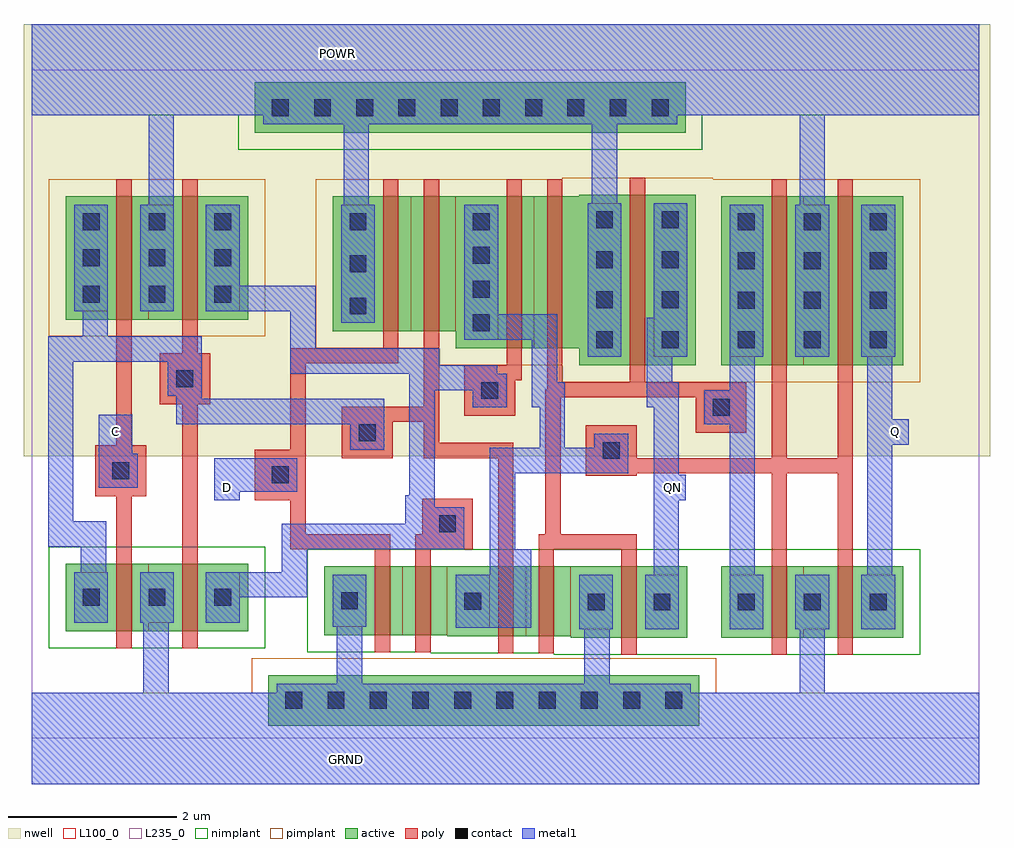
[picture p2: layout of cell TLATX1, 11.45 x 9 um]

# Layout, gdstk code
import gdstk
lib = gdstk.Library(unit=1e-6, precision=1e-09)
def R(c, l, rs):  # rectangles x0, y0, x1, y1
    for r in rs: c.add(gdstk.rectangle(r[:2], r[2:], *l))
def A(c, l, x, y, w, h, nx, ny, dx, dy):  # array of equal rectangles
    R(c, l, [(x+i*dx, y+j*dy, x+i*dx+w, y+j*dy+h) for i in range(nx) for j in range(ny)])
active = (1, 0)
nwell = (2, 0)
poly = (3, 0)
nimplant = (4, 0)
pimplant = (5, 0)
contact = (6, 0)
metal1 = (7, 0)
L100_0 = (100, 0)
L235_0 = (235, 0)

tlatx1 = lib.new_cell('TLATX1')
A(tlatx1, active, 8.16, 1.19, 0.6, 0.85, 3, 1, 0.78, 0)
A(tlatx1, active, 0.4, 1.27, 0.6, 0.8, 3, 1, 0.78, 0)
A(tlatx1, active, 8.16, 4.42, 0.6, 2, 3, 1, 0.78, 0)
A(tlatx1, active, 0.4, 4.96, 0.6, 1.46, 3, 1, 0.78, 0)
R(tlatx1, active, [(2.8,0.15,7.9,0.75), (6.38,1.19,6.98,2.04), (6.98,1.19,7.16,2.04), (7.16,1.19,7.76,2.04), (8.76,1.19,8.94,2.04), (8.94,1.19,9.14,2.04), (9.54,1.19,9.72,2.04), (4.92,1.21,5.52,2.04), (5.4,1.21,6,2.04), (5.52,1.21,5.7,2.04), (5.7,1.21,5.85,2.04), (6,1.21,6.18,2.04), (6.18,1.21,6.38,2.04), (3.46,1.22,4.06,2.04), (3.94,1.22,4.54,2.04), (4.06,1.22,4.24,2.04), (4.24,1.22,4.39,2.04), (4.54,1.22,4.72,2.04), (4.72,1.22,4.92,2.04), (1,1.27,1.18,2.07), (1.18,1.27,1.38,2.07), (1.78,1.27,1.96,2.07), (6.48,4.42,7.08,6.44), (7.08,4.42,7.26,6.44), (7.26,4.42,7.86,6.44), (8.76,4.42,8.94,6.42), (8.94,4.42,9.14,6.42), (9.54,4.42,9.72,6.42), (5.02,4.62,5.62,6.42), (5.5,4.62,6.1,6.42), (5.62,4.62,5.8,6.42), (5.8,4.62,5.95,6.42), (6.1,4.62,6.28,6.42), (6.28,4.62,6.88,6.42), (3.56,4.82,4.16,6.42), (4.04,4.82,4.64,6.42), (4.16,4.82,4.34,6.42), (4.34,4.82,4.49,6.42), (4.64,4.82,4.82,6.42), (4.82,4.82,5.02,6.42), (1,4.96,1.18,6.42), (1.18,4.96,1.38,6.42), (1.78,4.96,1.96,6.42), (2.64,7.17,7.74,7.77)])
R(tlatx1, nwell, [(-0.1,3.34,11.35,8.46), (5.98,3.92,8.36,6.94), (7.66,3.92,9.64,6.92), (8.44,3.92,10.82,6.92), (4.52,4.12,6.45,6.92), (5,4.12,7.38,6.92), (3.06,4.32,4.99,6.92), (3.54,4.32,5.52,6.92), (-0.1,4.46,1.88,6.92), (0.68,4.46,3.06,6.92)])
R(tlatx1, poly, [(6.98,0.99,7.16,1.19), (6.98,0.99,7.16,2.24), (8.76,0.99,8.94,1.19), (8.76,0.99,8.94,2.24), (9.54,0.99,9.72,1.19), (9.54,0.99,9.72,2.24), (5.52,1.01,5.7,1.21), (5.52,1.01,5.7,2.24), (6,1.01,6.18,1.21), (6,1.01,6.18,2.24), (4.06,1.02,4.24,1.22), (4.06,1.02,4.24,2.24), (4.54,1.02,4.72,1.22), (4.54,1.02,4.72,2.24), (1,1.07,1.18,1.27), (1,1.07,1.18,2.27), (1.78,1.07,1.96,1.27), (1.78,1.07,1.96,2.27), (4.06,2.04,4.24,2.24), (4.54,2.04,4.72,2.24), (5.52,2.04,5.7,2.24), (6,2.04,6.18,2.24), (6.98,2.04,7.16,2.24), (8.76,2.04,8.94,2.24), (9.54,2.04,9.72,2.24), (1,2.07,1.18,2.27), (1.78,2.07,1.96,2.27), (4.62,2.24,5.22,2.84), (2.64,2.82,3.24,3.42), (0.75,2.87,1.35,3.47), (6.56,3.11,7.16,3.71), (3.67,3.32,4.27,3.92), (7.86,3.62,8.46,4.22), (5.12,3.82,5.72,4.42), (1.51,3.96,2.11,4.56), (7.08,4.22,7.26,4.42), (7.08,4.22,7.26,6.64), (8.76,4.22,8.94,6.62), (8.76,4.22,8.94,4.42), (9.54,4.22,9.72,6.62), (9.54,4.22,9.72,4.42), (5.62,4.42,5.8,4.62), (5.62,4.42,5.8,6.62), (6.1,4.42,6.28,4.62), (6.1,4.42,6.28,6.62), (4.16,4.62,4.34,4.82), (4.16,4.62,4.34,6.62), (4.64,4.62,4.82,4.82), (4.64,4.62,4.82,6.62), (1,4.76,1.18,4.96), (1,4.76,1.18,6.62), (1.78,4.76,1.96,4.96), (1.78,4.76,1.96,6.62), (1,6.42,1.18,6.62), (1.78,6.42,1.96,6.62), (4.16,6.42,4.34,6.62), (4.64,6.42,4.82,6.62), (5.62,6.42,5.8,6.62), (6.1,6.42,6.28,6.62), (8.76,6.42,8.94,6.62), (9.54,6.42,9.72,6.62), (7.08,6.44,7.26,6.64)])
R(tlatx1, nimplant, [(6.18,0.99,7.96,2.24), (7.96,0.99,9.34,2.24), (8.74,0.99,10.52,2.24), (4.72,1.01,6.05,2.24), (5.2,1.01,6.58,2.24), (3.26,1.02,4.59,2.24), (3.74,1.02,5.12,2.24), (0.2,1.07,1.58,2.27), (0.98,1.07,2.76,2.27), (2.44,6.97,7.94,7.97), (0,7.38,11.22,8.46)])
R(tlatx1, pimplant, [(0,-0.54,11.22,0.54), (2.6,-0.05,8.1,0.95), (6.28,4.22,8.06,6.64), (7.96,4.22,9.34,6.62), (8.74,4.22,10.52,6.62), (4.82,4.42,6.15,6.62), (5.3,4.42,7.08,6.62), (3.36,4.62,4.69,6.62), (3.84,4.62,5.22,6.62), (0.2,4.76,1.58,6.62), (0.98,4.76,2.76,6.62)])
A(tlatx1, contact, 3, 0.35, 0.2, 0.2, 10, 1, 0.5, 0)
A(tlatx1, contact, 8.36, 1.515, 0.2, 0.2, 3, 2, 0.78, 3.105)
A(tlatx1, contact, 0.6, 1.57, 0.2, 0.2, 3, 2, 0.78, 3.59)
A(tlatx1, contact, 6.68, 4.62, 0.2, 0.2, 1, 3, 0, 0.475)
A(tlatx1, contact, 7.46, 4.62, 0.2, 0.2, 1, 3, 0, 0.475)
A(tlatx1, contact, 5.22, 4.82, 0.2, 0.2, 1, 4, 0, 0.4)
A(tlatx1, contact, 3.76, 5.02, 0.2, 0.2, 1, 3, 0, 0.5)
A(tlatx1, contact, 8.36, 5.09, 0.2, 0.2, 3, 3, 0.78, 0.465)
A(tlatx1, contact, 0.6, 5.59, 0.2, 0.2, 3, 2, 0.78, 0.43)
A(tlatx1, contact, 2.84, 7.37, 0.2, 0.2, 10, 1, 0.5, 0)
R(tlatx1, contact, [(6.58,1.515,6.78,1.715), (7.36,1.515,7.56,1.715), (5.12,1.525,5.32,1.725), (3.66,1.53,3.86,1.73), (4.82,2.44,5.02,2.64), (2.84,3.02,3.04,3.22), (0.95,3.07,1.15,3.27), (6.76,3.31,6.96,3.51), (3.87,3.52,4.07,3.72), (8.06,3.82,8.26,4.02), (5.32,4.02,5.52,4.22), (1.71,4.16,1.91,4.36), (6.68,6.04,6.88,6.24), (7.46,6.04,7.66,6.24)])
R(tlatx1, metal1, [(0,-0.54,11.22,0.54), (2.9,0.25,7.8,0.65), (5.42,1.31,5.7,1.94), (4.72,2.34,5.12,2.74), (2.16,2.82,2.46,3.12), (7.44,2.82,7.74,3.12), (2.74,2.92,3.14,3.32), (0.85,2.97,1.25,3.37), (6.66,3.21,7.06,3.61), (3.77,3.42,4.17,3.82), (0.84,3.48,1.14,3.78), (10.08,3.48,10.38,3.78), (7.96,3.72,8.36,4.12), (5.22,3.92,5.62,4.32), (1.61,4.06,2.01,4.46), (2.74,7.27,7.64,7.67), (0,7.38,11.22,8.46)])
A(tlatx1, L100_0, 8.26, 1.29, 0.4, 0.65, 3, 1, 0.78, 0)
A(tlatx1, L100_0, 0.5, 1.37, 0.4, 0.6, 3, 1, 0.78, 0)
A(tlatx1, L100_0, 8.26, 4.52, 0.4, 1.8, 3, 1, 0.78, 0)
A(tlatx1, L100_0, 0.5, 5.06, 0.4, 1.26, 3, 1, 0.78, 0)
R(tlatx1, L100_0, [(8.94,1.19,9.14,2.04), (5.7,1.21,5.85,2.04), (6.18,1.21,6.38,2.04), (4.24,1.22,4.39,2.04), (4.72,1.22,4.92,2.04), (1.18,1.27,1.38,2.07), (6.48,1.29,6.88,1.94), (7.26,1.29,7.66,1.94), (5.02,1.31,5.42,1.94), (3.56,1.32,3.96,1.94), (8.94,4.42,9.14,6.42), (6.58,4.52,6.98,6.34), (7.36,4.52,7.76,6.34), (5.8,4.62,5.95,6.42), (5.12,4.72,5.52,6.32), (4.34,4.82,4.49,6.42), (4.82,4.82,5.02,6.42), (3.66,4.92,4.06,6.32), (1.18,4.96,1.38,6.42)])
R(tlatx1, L235_0, [(0,0,11.22,7.92)])
tlatx1.add(gdstk.FlexPath([(5.71,4.42),(5.71,4.33),(5.2,4.33)], 0.18, ends="flush", simple_path=True, layer=3, datatype=0))  # poly
tlatx1.add(gdstk.FlexPath([(1.87,4.96),(1.87,4.76)], 0.18, ends="flush", simple_path=True, layer=3, datatype=0))  # poly
tlatx1.add(gdstk.FlexPath([(1.87,2.07),(1.87,2.27)], 0.18, ends="flush", simple_path=True, layer=3, datatype=0))  # poly
tlatx1.add(gdstk.FlexPath([(4.63,2.14),(4.63,2.33),(5.07,2.33)], 0.18, ends="flush", simple_path=True, layer=3, datatype=0))  # poly
tlatx1.add(gdstk.FlexPath([(1.09,4.96),(1.09,4.73)], 0.18, ends="flush", simple_path=True, layer=3, datatype=0))  # poly
tlatx1.add(gdstk.FlexPath([(4.73,3.84),(3.67,3.84)], 0.18, ends="flush", simple_path=True, layer=3, datatype=0))  # poly
tlatx1.add(gdstk.FlexPath([(6.17,2.34),(6.17,4.13)], 0.18, ends="flush", simple_path=True, layer=3, datatype=0))  # poly
tlatx1.add(gdstk.FlexPath([(1.09,2.18),(1.09,2.44)], 0.18, ends="flush", simple_path=True, layer=3, datatype=0))  # poly
tlatx1.add(gdstk.FlexPath([(5.61,2.24),(5.61,3.41),(4.73,3.41),(4.73,4.62)], 0.18, ends="flush", simple_path=True, layer=3, datatype=0))  # poly
tlatx1.add(gdstk.FlexPath([(6.32,4.13),(8.38,4.13)], 0.18, ends="flush", simple_path=True, layer=3, datatype=0))  # poly
tlatx1.add(gdstk.FlexPath([(6.19,4.51),(6.19,4.13),(7.26,4.13)], 0.18, ends="flush", simple_path=True, layer=3, datatype=0))  # poly
tlatx1.add(gdstk.FlexPath([(6.09,2.22),(6.09,2.33),(7.07,2.33),(7.07,2.08)], 0.18, ends="flush", simple_path=True, layer=3, datatype=0))  # poly
tlatx1.add(gdstk.FlexPath([(4.15,2.21),(4.15,2.33),(3.15,2.33),(3.15,4.53),(4.25,4.53),(4.25,4.71)], 0.18, ends="flush", simple_path=True, layer=3, datatype=0))  # poly
tlatx1.add(gdstk.FlexPath([(1.09,4.73),(1.09,2.19)], 0.18, ends="flush", simple_path=True, layer=3, datatype=0))  # poly
tlatx1.add(gdstk.FlexPath([(9.66,3.23),(6.59,3.23)], 0.18, ends="flush", simple_path=True, layer=3, datatype=0))  # poly
tlatx1.add(gdstk.FlexPath([(6.7,2.33),(7.16,2.33)], 0.18, ends="flush", simple_path=True, layer=3, datatype=0))  # poly
tlatx1.add(gdstk.FlexPath([(5.71,4.62),(5.71,4.42)], 0.18, ends="flush", simple_path=True, layer=3, datatype=0))  # poly
tlatx1.add(gdstk.FlexPath([(8.85,4.33),(8.85,2.23)], 0.18, ends="flush", simple_path=True, layer=3, datatype=0))  # poly
tlatx1.add(gdstk.FlexPath([(7.17,4.39),(7.17,4.17)], 0.18, ends="flush", simple_path=True, layer=3, datatype=0))  # poly
tlatx1.add(gdstk.FlexPath([(9.63,4.3),(9.63,2.24)], 0.18, ends="flush", simple_path=True, layer=3, datatype=0))  # poly
tlatx1.add(gdstk.FlexPath([(4.73,4.82),(4.73,4.62)], 0.18, ends="flush", simple_path=True, layer=3, datatype=0))  # poly
tlatx1.add(gdstk.FlexPath([(1.87,4.76),(1.87,2.27)], 0.18, ends="flush", simple_path=True, layer=3, datatype=0))  # poly
tlatx1.add(gdstk.FlexPath([(9.24,4.52),(9.24,6.32)], 0.4, ends="flush", simple_path=True, layer=7, datatype=0))  # metal1
tlatx1.add(gdstk.FlexPath([(10.02,4.52),(10.02,6.32)], 0.4, ends="flush", simple_path=True, layer=7, datatype=0))  # metal1
tlatx1.add(gdstk.FlexPath([(8.46,4.52),(8.46,6.32)], 0.4, ends="flush", simple_path=True, layer=7, datatype=0))  # metal1
tlatx1.add(gdstk.FlexPath([(6.78,4.52),(6.78,6.34)], 0.4, ends="flush", simple_path=True, layer=7, datatype=0))  # metal1
tlatx1.add(gdstk.FlexPath([(7.56,4.52),(7.56,6.34)], 0.4, ends="flush", simple_path=True, layer=7, datatype=0))  # metal1
tlatx1.add(gdstk.FlexPath([(5.32,4.72),(5.32,6.32)], 0.4, ends="flush", simple_path=True, layer=7, datatype=0))  # metal1
tlatx1.add(gdstk.FlexPath([(3.86,4.92),(3.86,6.32)], 0.4, ends="flush", simple_path=True, layer=7, datatype=0))  # metal1
tlatx1.add(gdstk.FlexPath([(1.48,5.06),(1.48,6.32)], 0.4, ends="flush", simple_path=True, layer=7, datatype=0))  # metal1
tlatx1.add(gdstk.FlexPath([(2.26,5.06),(2.26,6.32)], 0.4, ends="flush", simple_path=True, layer=7, datatype=0))  # metal1
tlatx1.add(gdstk.FlexPath([(0.7,5.06),(0.7,6.32)], 0.4, ends="flush", simple_path=True, layer=7, datatype=0))  # metal1
tlatx1.add(gdstk.FlexPath([(6.68,1.29),(6.68,1.94)], 0.4, ends="flush", simple_path=True, layer=7, datatype=0))  # metal1
tlatx1.add(gdstk.FlexPath([(7.46,1.29),(7.46,1.94)], 0.4, ends="flush", simple_path=True, layer=7, datatype=0))  # metal1
tlatx1.add(gdstk.FlexPath([(9.24,1.29),(9.24,1.94)], 0.4, ends="flush", simple_path=True, layer=7, datatype=0))  # metal1
tlatx1.add(gdstk.FlexPath([(10.02,1.29),(10.02,1.94)], 0.4, ends="flush", simple_path=True, layer=7, datatype=0))  # metal1
tlatx1.add(gdstk.FlexPath([(8.46,1.29),(8.46,1.94)], 0.4, ends="flush", simple_path=True, layer=7, datatype=0))  # metal1
tlatx1.add(gdstk.FlexPath([(5.7,1.31),(5.7,1.94)], 0.4, ends="flush", simple_path=True, layer=7, datatype=0))  # metal1
tlatx1.add(gdstk.FlexPath([(5.22,1.31),(5.22,1.94)], 0.4, ends="flush", simple_path=True, layer=7, datatype=0))  # metal1
tlatx1.add(gdstk.FlexPath([(3.76,1.32),(3.76,1.94)], 0.4, ends="flush", simple_path=True, layer=7, datatype=0))  # metal1
tlatx1.add(gdstk.FlexPath([(1.48,1.37),(1.48,1.97)], 0.4, ends="flush", simple_path=True, layer=7, datatype=0))  # metal1
tlatx1.add(gdstk.FlexPath([(2.26,1.37),(2.26,1.97)], 0.4, ends="flush", simple_path=True, layer=7, datatype=0))  # metal1
tlatx1.add(gdstk.FlexPath([(0.7,1.37),(0.7,1.97)], 0.4, ends="flush", simple_path=True, layer=7, datatype=0))  # metal1
tlatx1.add(gdstk.FlexPath([(3.14,3.12),(2.16,3.12)], 0.4, ends="flush", simple_path=True, layer=7, datatype=0))  # metal1
tlatx1.add(gdstk.FlexPath([(2.26,1.82),(3.11,1.82),(3.11,2.38)], 0.3, ends="flush", simple_path=True, layer=7, datatype=0))  # metal1
tlatx1.add(gdstk.FlexPath([(10.04,4.82),(10.04,1.79)], 0.3, ends="flush", simple_path=True, layer=7, datatype=0))  # metal1
tlatx1.add(gdstk.FlexPath([(5.51,4.27),(4.67,4.27),(4.67,4.47),(3.21,4.47),(3.21,5.21),(2.26,5.21)], 0.3, ends="flush", simple_path=True, layer=7, datatype=0))  # metal1
tlatx1.add(gdstk.FlexPath([(5.76,1.31),(5.76,2.09),(5.57,2.09),(5.57,3.29),(7.06,3.29)], 0.3, ends="flush", simple_path=True, layer=7, datatype=0))  # metal1
tlatx1.add(gdstk.FlexPath([(4.62,4.32),(4.62,2.73),(4.57,2.73),(4.57,2.39)], 0.3, ends="flush", simple_path=True, layer=7, datatype=0))  # metal1
tlatx1.add(gdstk.FlexPath([(2.96,2.39),(5.12,2.39)], 0.3, ends="flush", simple_path=True, layer=7, datatype=0))  # metal1
tlatx1.add(gdstk.FlexPath([(7.43,4.98),(7.43,4.07),(7.51,4.07),(7.51,1.59)], 0.3, ends="flush", simple_path=True, layer=7, datatype=0))  # metal1
tlatx1.add(gdstk.FlexPath([(6.78,6.19),(6.78,7.91)], 0.3, ends="flush", simple_path=True, layer=7, datatype=0))  # metal1
tlatx1.add(gdstk.FlexPath([(9.24,6.08),(9.24,7.95)], 0.3, ends="flush", simple_path=True, layer=7, datatype=0))  # metal1
tlatx1.add(gdstk.FlexPath([(1.53,6.2),(1.53,7.77)], 0.3, ends="flush", simple_path=True, layer=7, datatype=0))  # metal1
tlatx1.add(gdstk.FlexPath([(1.47,1.83),(1.47,0)], 0.3, ends="flush", simple_path=True, layer=7, datatype=0))  # metal1
tlatx1.add(gdstk.FlexPath([(6.69,1.69),(6.69,0.05)], 0.3, ends="flush", simple_path=True, layer=7, datatype=0))  # metal1
tlatx1.add(gdstk.FlexPath([(9.24,1.87),(9.24,0.24)], 0.3, ends="flush", simple_path=True, layer=7, datatype=0))  # metal1
tlatx1.add(gdstk.FlexPath([(8.41,1.36),(8.41,4.83)], 0.3, ends="flush", simple_path=True, layer=7, datatype=0))  # metal1
tlatx1.add(gdstk.FlexPath([(3.76,1.69),(3.76,0.05)], 0.3, ends="flush", simple_path=True, layer=7, datatype=0))  # metal1
tlatx1.add(gdstk.FlexPath([(0.88,4.61),(1.86,4.61),(1.86,3.87),(4.17,3.87)], 0.3, ends="flush", simple_path=True, layer=7, datatype=0))  # metal1
tlatx1.add(gdstk.FlexPath([(5.32,4.87),(6.07,4.87),(6.07,4.07),(6.16,4.07),(6.16,3.14)], 0.3, ends="flush", simple_path=True, layer=7, datatype=0))  # metal1
tlatx1.add(gdstk.FlexPath([(0.73,1.86),(0.73,2.42),(0.34,2.42),(0.34,4.61),(0.75,4.61),(0.75,5.37)], 0.3, ends="flush", simple_path=True, layer=7, datatype=0))  # metal1
tlatx1.add(gdstk.FlexPath([(0.99,2.97),(0.99,3.83)], 0.4, ends="flush", simple_path=True, layer=7, datatype=0))  # metal1
tlatx1.add(gdstk.FlexPath([(3.84,6.19),(3.84,7.91)], 0.3, ends="flush", simple_path=True, layer=7, datatype=0))  # metal1
tlatx1.add(gdstk.Label('C', (0.99,3.63), layer=230, texttype=0))
tlatx1.add(gdstk.Label('Q', (10.23,3.63), layer=230, texttype=0))
tlatx1.add(gdstk.Label('POWR', (3.62,8.11), layer=230, texttype=0))
tlatx1.add(gdstk.Label('GRND', (3.73,-0.25), layer=230, texttype=0))
tlatx1.add(gdstk.Label('QN', (7.59,2.97), layer=230, texttype=0))
tlatx1.add(gdstk.Label('D', (2.31,2.97), layer=230, texttype=0))

lib.write_gds('TLATX1.gds')
